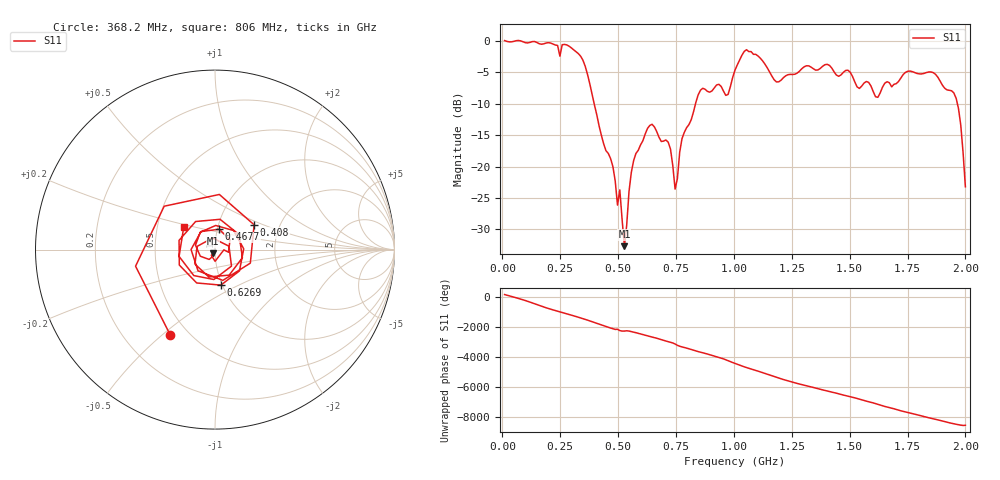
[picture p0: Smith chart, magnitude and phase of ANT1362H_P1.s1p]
!Created with skrf (http://scikit-rf.org).
# Hz S RI R 50.0
!freq ReS11 ImS11
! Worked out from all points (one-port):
!   201 points, 10 MHz to 2 GHz, reference 50 ohm
!   lowest |S11| = -32.7 dB at 527.4 MHz (marker M1), VSWR 1.05, Z = 48.8 - j1.98 ohm
!   |S11| at or under -10 dB: 396.7 MHz to 834.6 MHz (437.9 MHz wide, 71.1 % of centre); 1.965 GHz to end of sweep
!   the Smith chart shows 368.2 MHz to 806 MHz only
!   S11 on the Smith chart (normalised r, x): 368.2 MHz: 0.40, -0.54; 408 MHz: 1.48, +0.44; 467.7 MHz: 1.02, +0.23; 626.9 MHz: 0.98, -0.41; 806 MHz: 0.68, +0.18
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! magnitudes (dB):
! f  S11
! 10 MHz  0.0
! 258.8 MHz  -0.6
! 368.2 MHz  -5.4
! 408 MHz  -11.8
! 467.7 MHz  -18.7
! 497.6 MHz  -26.1
! 507.5 MHz  -23.7
! 527.4 MHz  -32.7
! 547.3 MHz  -23.9
! 567.2 MHz  -19.1
! 626.9 MHz  -14.0
! 716.5 MHz  -16.1
! 746.3 MHz  -23.6
! 756.2 MHz  -21.9
! 776.1 MHz  -15.6
! 806 MHz  -13.3
! 855.8 MHz  -7.9
! 975.1 MHz  -8.5
! 1.005 GHz  -4.7
! 1.055 GHz  -1.4
! 1.184 GHz  -6.6
! 1.254 GHz  -5.4
! 1.502 GHz  -5.0
! 1.622 GHz  -9.0
! 1.751 GHz  -4.9
! 1.95 GHz  -8.3
! 1.98 GHz  -13.4
! 2 GHz  -23.2
